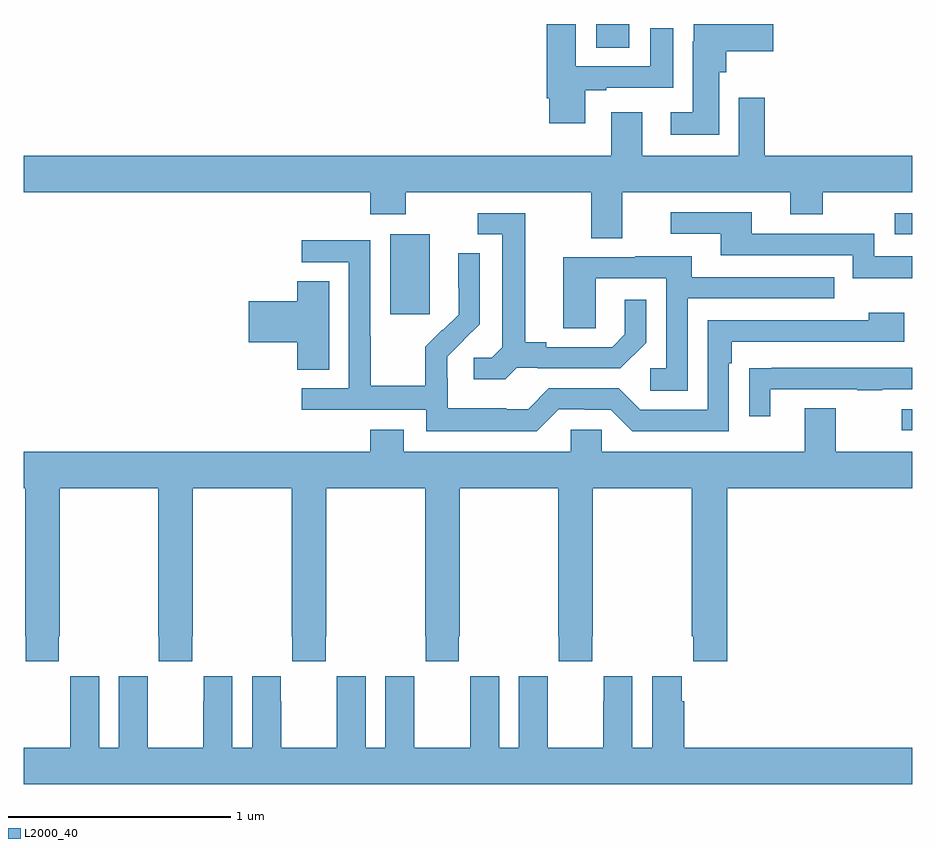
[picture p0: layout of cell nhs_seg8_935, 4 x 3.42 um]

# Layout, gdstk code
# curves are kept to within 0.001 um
import gdstk
lib = gdstk.Library(unit=1e-6, precision=1e-09)
def R(c, l, rs):  # rectangles x0, y0, x1, y1
    for r in rs: c.add(gdstk.rectangle(r[:2], r[2:], *l))
def P(c, l, *ps):  # polygons
    for p in ps: c.add(gdstk.Polygon(p, *l))
L2000_40 = (2000, 40)

nhs_seg8_935 = lib.new_cell('nhs_seg8_935')
R(nhs_seg8_935, L2000_40, [(174.951,1138.071,175,1138.167), (172.649,1138.593,172.828,1138.954), (174.921,1138.953,175,1139.049), (173.576,1139.794,173.725,1139.9)])
P(nhs_seg8_935, L2000_40, [(173.527,1139.601),(173.623,1139.601),(173.623,1139.613),(173.923,1139.613),(173.923,1139.881),(173.819,1139.881),(173.819,1139.709),(173.485,1139.709),(173.485,1139.9),(173.354,1139.9),(173.354,1139.566),(173.366,1139.566),(173.366,1139.454),(173.527,1139.454)],
  [(174.13,1139.682),(174.161,1139.682),(174.161,1139.777),(174.373,1139.777),(174.373,1139.9),(174.015,1139.9),(174.015,1139.822),(174.011,1139.822),(174.011,1139.503),(173.913,1139.503),(173.913,1139.402),(174.13,1139.402)],
  [(173.695,1139.144),(174.449,1139.144),(174.449,1139.045),(174.597,1139.045),(174.597,1139.144),(175,1139.144),(175,1139.308),(174.335,1139.308),(174.335,1139.569),(174.219,1139.569),(174.219,1139.308),(173.785,1139.308),(173.785,1139.503),(173.645,1139.503),(173.645,1139.308),(171,1139.308),(171,1139.144),(172.559,1139.144),(172.559,1139.045),(172.719,1139.045),(172.719,1139.144),(173.555,1139.144),(173.555,1138.936),(173.695,1138.936)],
  [(175,1138.854),(174.828,1138.854),(174.828,1138.956),(174.277,1138.956),(174.277,1139.052),(173.913,1139.052),(173.913,1138.956),(174.137,1138.956),(174.137,1138.86),(174.732,1138.86),(174.732,1138.757),(175,1138.757)],
  [(173.22,1138.353),(173.314,1138.353),(173.314,1138.35),(173.686,1138.35),(173.802,1138.466),(173.802,1138.66),(173.705,1138.66),(173.705,1138.503),(173.648,1138.446),(173.353,1138.446),(173.353,1138.469),(173.257,1138.469),(173.257,1139.049),(173.043,1139.049),(173.043,1138.953),(173.153,1138.953),(173.153,1138.445),(173.106,1138.398),(173.025,1138.398),(173.025,1138.301),(173.168,1138.301)],
  [(173.409,1138.167),(173.525,1138.167),(173.525,1138.164),(173.643,1138.164),(173.739,1138.068),(174.174,1138.068),(174.174,1138.373),(174.187,1138.373),(174.187,1138.47),(174.964,1138.47),(174.964,1138.6),(174.803,1138.6),(174.803,1138.566),(174.078,1138.566),(174.078,1138.164),(173.775,1138.164),(173.679,1138.26),(173.364,1138.26),(173.271,1138.167),(173.171,1138.167),(173.171,1138.171),(172.908,1138.171),(172.908,1138.305),(172.906,1138.305),(172.906,1138.402),(173.052,1138.55),(173.052,1138.868),(172.956,1138.868),(172.956,1138.714),(172.958,1138.714),(172.958,1138.592),(172.887,1138.521),(172.884,1138.524),(172.807,1138.447),(172.807,1138.273),(172.563,1138.273),(172.563,1138.496),(172.56,1138.496),(172.56,1138.926),(172.251,1138.926),(172.251,1138.827),(172.464,1138.827),(172.464,1138.26),(172.251,1138.26),(172.251,1138.164),(172.812,1138.164),(172.812,1138.067),(173.309,1138.067)],
  [(173.988,1138.665),(174.647,1138.665),(174.647,1138.761),(174.007,1138.761),(174.007,1138.855),(173.753,1138.855),(173.753,1138.851),(173.429,1138.851),(173.429,1138.531),(173.574,1138.531),(173.574,1138.755),(173.892,1138.755),(173.892,1138.35),(173.82,1138.35),(173.82,1138.249),(173.988,1138.249)],
  [(172.375,1138.742),(172.232,1138.742),(172.232,1138.652),(172.014,1138.652),(172.014,1138.469),(172.232,1138.469),(172.232,1138.345),(172.375,1138.345)],
  [(174.361,1138.257),(174.751,1138.257),(174.751,1138.252),(174.863,1138.252),(174.863,1138.257),(175,1138.257),(175,1138.353),(174.367,1138.353),(174.367,1138.352),(174.265,1138.352),(174.265,1138.134),(174.361,1138.134)],
  [(171.159,1137.145),(171.162,1137.145),(171.162,1137.812),(171.607,1137.812),(171.607,1137.145),(171.609,1137.145),(171.609,1137.033),(171.759,1137.033),(171.759,1137.145),(171.762,1137.145),(171.762,1137.812),(172.207,1137.812),(172.207,1137.145),(172.209,1137.145),(172.209,1137.033),(172.359,1137.033),(172.359,1137.145),(172.362,1137.145),(172.362,1137.812),(172.807,1137.812),(172.807,1137.145),(172.809,1137.145),(172.809,1137.033),(172.959,1137.033),(172.959,1137.145),(172.962,1137.145),(172.962,1137.812),(173.407,1137.812),(173.407,1137.145),(173.409,1137.145),(173.409,1137.033),(173.559,1137.033),(173.559,1137.145),(173.562,1137.145),(173.562,1137.812),(174.007,1137.812),(174.007,1137.145),(174.013,1137.145),(174.013,1137.033),(174.167,1137.033),(174.167,1137.812),(175,1137.812),(175,1137.976),(174.655,1137.976),(174.655,1138.171),(174.515,1138.171),(174.515,1137.976),(173.601,1137.976),(173.601,1138.074),(173.463,1138.074),(173.463,1137.976),(172.711,1137.976),(172.711,1138.075),(172.559,1138.075),(172.559,1137.976),(171,1137.976),(171,1137.812),(171.007,1137.812),(171.007,1137.145),(171.009,1137.145),(171.009,1137.033),(171.159,1137.033)],
  [(175,1136.644),(173.972,1136.644),(173.972,1136.852),(173.962,1136.852),(173.962,1136.965),(173.828,1136.965),(173.828,1136.644),(173.74,1136.644),(173.74,1136.965),(173.61,1136.965),(173.61,1136.852),(173.609,1136.852),(173.609,1136.644),(173.359,1136.644),(173.359,1136.852),(173.358,1136.852),(173.358,1136.965),(173.228,1136.965),(173.228,1136.644),(173.14,1136.644),(173.14,1136.965),(173.01,1136.965),(173.01,1136.852),(173.009,1136.852),(173.009,1136.644),(172.759,1136.644),(172.759,1136.852),(172.758,1136.852),(172.758,1136.965),(172.628,1136.965),(172.628,1136.644),(172.54,1136.644),(172.54,1136.965),(172.41,1136.965),(172.41,1136.852),(172.409,1136.852),(172.409,1136.644),(172.159,1136.644),(172.159,1136.852),(172.158,1136.852),(172.158,1136.965),(172.028,1136.965),(172.028,1136.644),(171.94,1136.644),(171.94,1136.965),(171.81,1136.965),(171.81,1136.852),(171.809,1136.852),(171.809,1136.644),(171.559,1136.644),(171.559,1136.852),(171.558,1136.852),(171.558,1136.965),(171.428,1136.965),(171.428,1136.644),(171.34,1136.644),(171.34,1136.965),(171.21,1136.965),(171.21,1136.852),(171.209,1136.852),(171.209,1136.644),(171,1136.644),(171,1136.48),(175,1136.48)])

lib.write_gds('nhs_seg8_935.gds')
